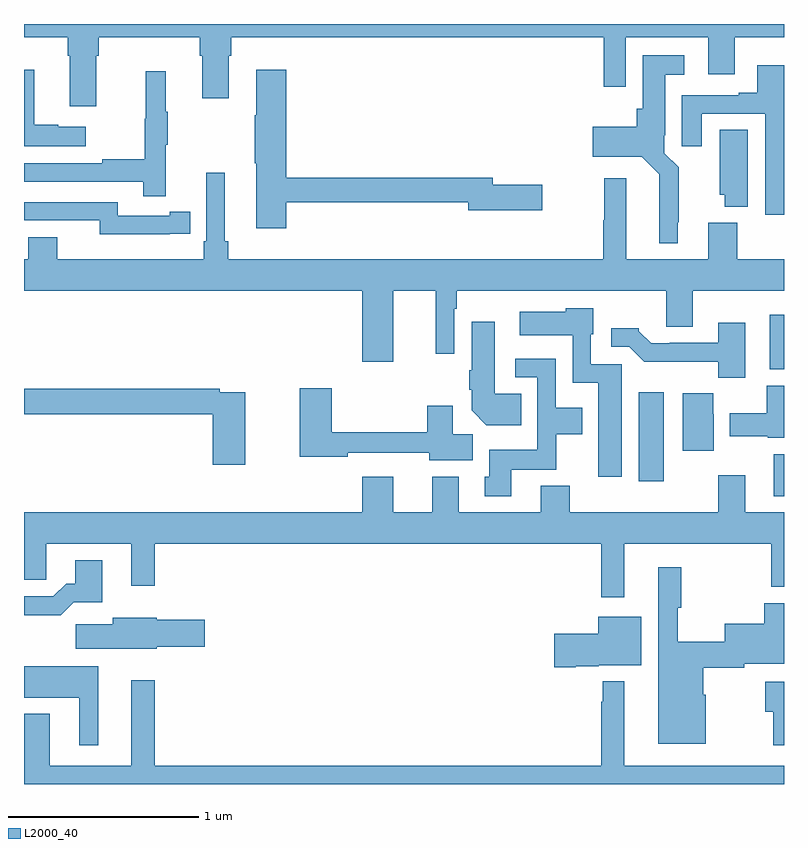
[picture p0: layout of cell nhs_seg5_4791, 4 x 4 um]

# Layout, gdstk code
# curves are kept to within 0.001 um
import gdstk
lib = gdstk.Library(unit=1e-6, precision=1e-09)
def R(c, l, rs):  # rectangles x0, y0, x1, y1
    for r in rs: c.add(gdstk.rectangle(r[:2], r[2:], *l))
def P(c, l, *ps):  # polygons
    for p in ps: c.add(gdstk.Polygon(p, *l))
L2000_40 = (2000, 40)

nhs_seg5_4791 = lib.new_cell('nhs_seg5_4791')
R(nhs_seg5_4791, L2000_40, [(394.946,886.313,395,886.534), (394.235,886.392,394.366,886.861), (394.925,886.982,395,887.269)])
P(nhs_seg5_4791, L2000_40, [(391.381,888.632),(391.394,888.632),(391.394,888.728),(391.925,888.728),(391.925,888.632),(391.937,888.632),(391.937,888.408),(392.077,888.408),(392.077,888.632),(392.09,888.632),(392.09,888.728),(394.051,888.728),(394.051,888.468),(394.167,888.468),(394.167,888.728),(394.601,888.728),(394.601,888.534),(394.741,888.534),(394.741,888.728),(395,888.728),(395,888.799),(391,888.799),(391,888.728),(391.229,888.728),(391.229,888.632),(391.241,888.632),(391.241,888.366),(391.381,888.366)],
  [(394.441,887.755),(394.445,887.755),(394.445,888.046),(394.371,888.12),(394.371,888.214),(394.375,888.214),(394.375,888.533),(394.474,888.533),(394.474,888.634),(394.256,888.634),(394.256,888.354),(394.226,888.354),(394.226,888.259),(393.993,888.259),(393.993,888.101),(394.251,888.101),(394.344,888.008),(394.343,887.645),(394.441,887.645)],
  [(395,888.583),(394.859,888.583),(394.859,888.436),(394.763,888.436),(394.763,888.423),(394.463,888.423),(394.463,888.156),(394.567,888.156),(394.567,888.327),(394.901,888.327),(394.901,887.796),(395,887.796)],
  [(391.324,888.259),(391.181,888.259),(391.181,888.269),(391.054,888.269),(391.054,888.559),(391,888.559),(391,888.155),(391.324,888.155)],
  [(392.381,887.862),(393.338,887.862),(393.338,887.819),(393.727,887.819),(393.727,887.954),(393.466,887.954),(393.466,887.99),(392.381,887.99),(392.381,888.559),(392.222,888.559),(392.222,888.32),(392.215,888.32),(392.215,888.067),(392.222,888.067),(392.222,887.724),(392.381,887.724)],
  [(391.745,888.163),(391.756,888.163),(391.756,888.337),(391.745,888.337),(391.745,888.55),(391.642,888.55),(391.642,888.3),(391.635,888.3),(391.635,888.086),(391.411,888.086),(391.411,888.066),(391,888.066),(391,887.97),(391.627,887.97),(391.627,887.892),(391.745,887.892)],
  [(394.81,888.242),(394.661,888.242),(394.661,887.901),(394.688,887.901),(394.688,887.837),(394.81,887.837)],
  [(392.944,887.396),(393.166,887.396),(393.166,887.064),(393.264,887.064),(393.264,887.3),(393.277,887.3),(393.277,887.396),(394.379,887.396),(394.379,887.206),(394.519,887.206),(394.519,887.396),(395,887.396),(395,887.56),(394.754,887.56),(394.754,887.752),(394.601,887.752),(394.601,887.56),(394.171,887.56),(394.171,887.986),(394.054,887.986),(394.054,887.765),(394.049,887.765),(394.049,887.56),(392.075,887.56),(392.075,887.656),(392.056,887.656),(392.056,888.016),(391.959,888.016),(391.959,887.656),(391.946,887.656),(391.946,887.56),(391.174,887.56),(391.174,887.677),(391.022,887.677),(391.022,887.56),(391,887.56),(391,887.396),(392.78,887.396),(392.78,887.022),(392.944,887.022)],
  [(391.766,887.694),(391.874,887.694),(391.874,887.81),(391.766,887.81),(391.766,887.79),(391.494,887.79),(391.494,887.862),(391,887.862),(391,887.766),(391.398,887.766),(391.398,887.693),(391.766,887.693)],
  [(394.147,887.007),(393.984,887.007),(393.984,887.166),(393.997,887.166),(393.997,887.302),(393.852,887.302),(393.852,887.284),(393.609,887.284),(393.609,887.162),(393.888,887.162),(393.888,886.91),(394.022,886.91),(394.022,886.416),(394.147,886.416)],
  [(393.617,886.852),(393.478,886.852),(393.478,887.233),(393.356,887.233),(393.356,886.976),(393.344,886.976),(393.344,886.873),(393.356,886.873),(393.356,886.766),(393.434,886.688),(393.617,886.688)],
  [(394.795,887.227),(394.655,887.227),(394.655,887.121),(394.399,887.121),(394.399,887.118),(394.3,887.118),(394.236,887.182),(394.236,887.197),(394.092,887.197),(394.092,887.1),(394.185,887.1),(394.264,887.022),(394.653,887.022),(394.653,886.937),(394.795,886.937)],
  [(393.565,886.454),(393.801,886.454),(393.801,886.64),(393.937,886.64),(393.937,886.78),(393.798,886.78),(393.798,887.037),(393.585,887.037),(393.585,886.941),(393.702,886.941),(393.702,886.558),(393.449,886.558),(393.449,886.416),(393.425,886.416),(393.425,886.314),(393.565,886.314)],
  [(395,886.894),(394.91,886.894),(394.91,886.75),(394.715,886.75),(394.715,886.628),(394.914,886.628),(394.914,886.622),(395,886.622)],
  [(393.361,886.64),(393.256,886.64),(393.256,886.789),(393.122,886.789),(393.122,886.651),(392.621,886.651),(392.621,886.882),(392.45,886.882),(392.45,886.522),(392.704,886.522),(392.704,886.542),(393.134,886.542),(393.134,886.502),(393.361,886.502)],
  [(392.164,886.86),(392.03,886.86),(392.03,886.88),(391,886.88),(391,886.744),(391.994,886.744),(391.994,886.479),(392.164,886.479)],
  [(394.63,886.746),(394.628,886.746),(394.628,886.855),(394.466,886.855),(394.466,886.554),(394.63,886.554)],
  [(394.159,886.064),(394.933,886.064),(394.933,885.836),(395,885.836),(395,886.228),(394.795,886.228),(394.795,886.423),(394.655,886.423),(394.655,886.228),(393.872,886.228),(393.872,886.369),(393.719,886.369),(393.719,886.228),(393.289,886.228),(393.289,886.417),(393.149,886.417),(393.149,886.228),(392.944,886.228),(392.944,886.417),(392.78,886.417),(392.78,886.228),(391,886.228),(391,885.874),(391.116,885.874),(391.116,886.064),(391.565,886.064),(391.565,885.843),(391.687,885.843),(391.687,886.064),(394.038,886.064),(394.038,885.783),(394.159,885.783)],
  [(391.262,885.755),(391.411,885.755),(391.411,885.976),(391.271,885.976),(391.271,885.853),(391.222,885.853),(391.155,885.786),(391,885.786),(391,885.686),(391.193,885.686)],
  [(394.588,885.27),(394.576,885.27),(394.576,885.412),(394.792,885.412),(394.792,885.431),(395,885.431),(395,885.751),(394.897,885.751),(394.897,885.643),(394.688,885.643),(394.688,885.548),(394.441,885.548),(394.441,885.726),(394.459,885.726),(394.459,885.94),(394.337,885.94),(394.337,885.011),(394.588,885.011)],
  [(393.904,885.419),(394.026,885.419),(394.026,885.425),(394.249,885.425),(394.249,885.679),(394.022,885.679),(394.022,885.591),(393.792,885.591),(393.792,885.413),(393.904,885.413)],
  [(391.698,885.521),(391.951,885.521),(391.951,885.663),(391.698,885.663),(391.698,885.673),(391.466,885.673),(391.466,885.641),(391.272,885.641),(391.272,885.512),(391.698,885.512)],
  [(391.39,885.418),(391,885.418),(391,885.254),(391.292,885.254),(391.292,885.003),(391.39,885.003)],
  [(395,884.896),(394.159,884.896),(394.159,885.34),(394.045,885.34),(394.045,885.233),(394.038,885.233),(394.038,884.896),(391.687,884.896),(391.687,885.346),(391.565,885.346),(391.565,884.896),(391.135,884.896),(391.135,885.169),(391,885.169),(391,884.799),(395,884.799)],
  [(395,885.337),(394.902,885.337),(394.902,885.179),(394.944,885.179),(394.944,885.003),(395,885.003)])

lib.write_gds('nhs_seg5_4791.gds')
